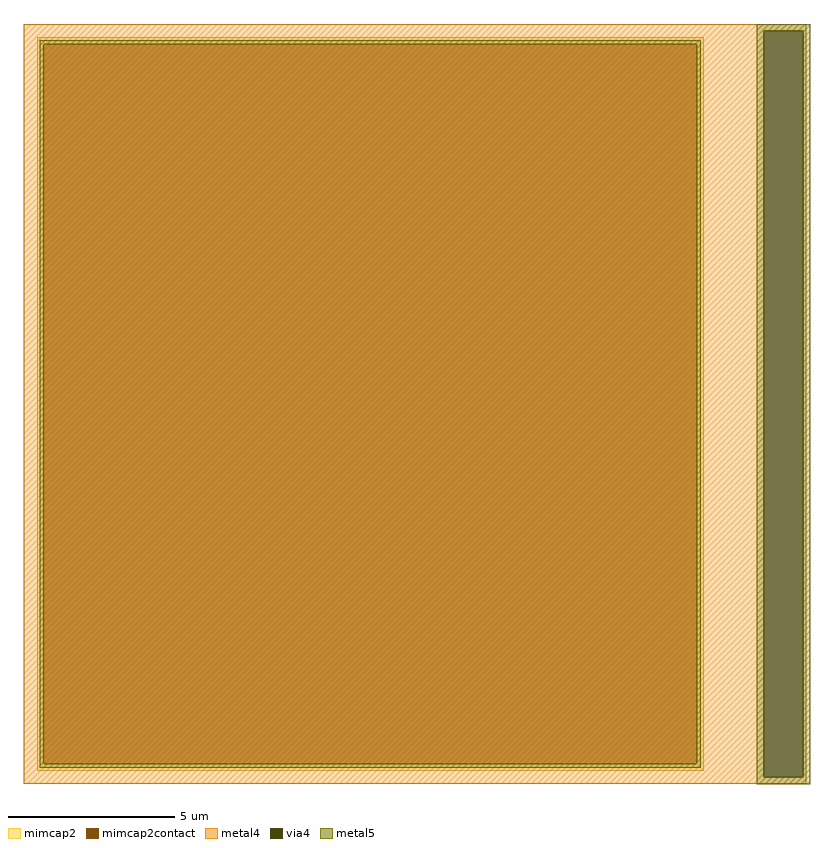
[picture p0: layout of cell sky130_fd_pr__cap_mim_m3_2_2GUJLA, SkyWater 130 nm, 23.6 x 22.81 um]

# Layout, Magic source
magic
tech sky130A
magscale 1 2
<< metal4 >>
rect -2349 2239 2349 2280
rect -2349 -2239 2093 2239
rect 2329 -2239 2349 2239
rect -2349 -2280 2349 -2239
<< via4 >>
rect 2093 -2239 2329 2239
<< mimcap2 >>
rect -2269 2160 1731 2200
rect -2269 -2160 -2229 2160
rect 1691 -2160 1731 2160
rect -2269 -2200 1731 -2160
<< mimcap2contact >>
rect -2229 -2160 1691 2160
<< metal5 >>
rect 2051 2239 2371 2281
rect -2253 2160 1715 2184
rect -2253 -2160 -2229 2160
rect 1691 -2160 1715 2160
rect -2253 -2184 1715 -2160
rect 2051 -2239 2093 2239
rect 2329 -2239 2371 2239
rect 2051 -2281 2371 -2239
<< properties >>
string FIXED_BBOX -2349 -2280 1811 2280
string gencell sky130_fd_pr__cap_mim_m3_2
string library sky130
string parameters w 20 l 22 val 895.96 carea 2.00 cperi 0.19 nx 1 ny 1 dummy 0 square 0 lmin 2.00 wmin 2.00 lmax 30.0 wmax 30.0 dc 0 bconnect 1 tconnect 1 ccov 100
<< end >>
